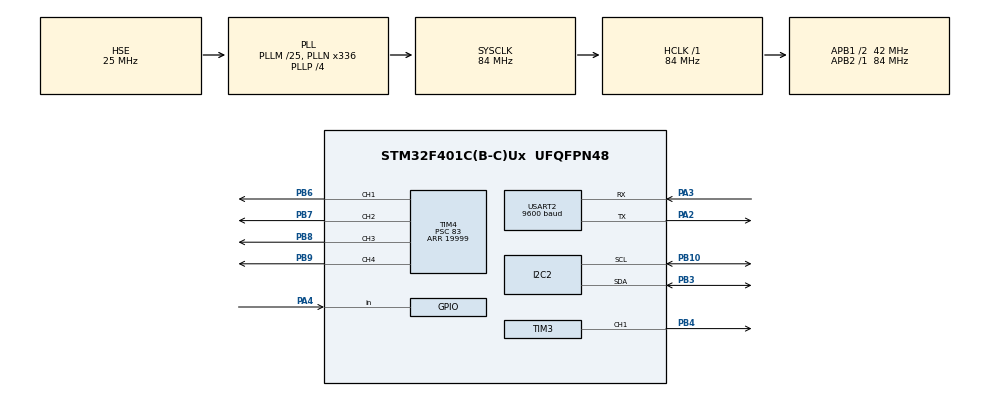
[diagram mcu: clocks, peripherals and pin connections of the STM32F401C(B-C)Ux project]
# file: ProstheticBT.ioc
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Mcu.Family=STM32F4
Mcu.Name=STM32F401C(B-C)Ux
Mcu.Package=UFQFPN48
NVIC.PriorityGroup=NVIC_PRIORITYGROUP_4
NVIC.USART2_IRQn=true\:0\:0\:false\:false\:true\:true\:true\:true
PA13.Mode=Serial_Wire
PA13.Signal=SYS_JTMS-SWDIO
PA14.Mode=Serial_Wire
PA14.Signal=SYS_JTCK-SWCLK
PA2.Mode=Asynchronous
PA2.Signal=USART2_TX
PA3.Mode=Asynchronous
PA3.Signal=USART2_RX
PA4.GPIO_PuPd=GPIO_PULLUP
PA4.Signal=GPIO_Input
PB10.Mode=I2C
PB10.Signal=I2C2_SCL
PB3.Mode=I2C
PB3.Signal=I2C2_SDA
PB4.Signal=S_TIM3_CH1
PB6.Signal=S_TIM4_CH1
PB7.Signal=S_TIM4_CH2
PB8.Signal=S_TIM4_CH3
PB9.Signal=S_TIM4_CH4
PH0\ -\ OSC_IN.Mode=HSE-External-Oscillator
PH0\ -\ OSC_IN.Signal=RCC_OSC_IN
PH1\ -\ OSC_OUT.Mode=HSE-External-Oscillator
PH1\ -\ OSC_OUT.Signal=RCC_OSC_OUT
ProjectManager.HeapSize=0x200
ProjectManager.StackSize=0x400
ProjectManager.TargetToolchain=MDK-ARM V5.32
RCC.48MHZClocksFreq_Value=84000000
RCC.AHBFreq_Value=84000000
RCC.APB1CLKDivider=RCC_HCLK_DIV2
RCC.APB1Freq_Value=42000000
RCC.APB1TimFreq_Value=84000000
RCC.APB2Freq_Value=84000000
RCC.APB2TimFreq_Value=84000000
RCC.CortexFreq_Value=84000000
RCC.HCLKFreq_Value=84000000
RCC.HSE_VALUE=25000000
RCC.HSI_VALUE=16000000
RCC.LSE_VALUE=32768
RCC.PLLM=25
RCC.PLLN=336
RCC.PLLP=RCC_PLLP_DIV4
RCC.PLLSourceVirtual=RCC_PLLSOURCE_HSE
RCC.SYSCLKFreq_VALUE=84000000
RCC.SYSCLKSource=RCC_SYSCLKSOURCE_PLLCLK
RCC.VCOOutputFreq_Value=336000000
SH.S_TIM3_CH1.0=TIM3_CH1,PWM Generation1 CH1
SH.S_TIM4_CH1.0=TIM4_CH1,PWM Generation1 CH1
SH.S_TIM4_CH2.0=TIM4_CH2,PWM Generation2 CH2
SH.S_TIM4_CH3.0=TIM4_CH3,PWM Generation3 CH3
SH.S_TIM4_CH4.0=TIM4_CH4,PWM Generation4 CH4
TIM3.Channel-PWM\ Generation1\ CH1=TIM_CHANNEL_1
TIM3.Period=19999
TIM3.Prescaler=83
TIM3.Pulse-PWM\ Generation1\ CH1=1500
TIM4.Channel-PWM\ Generation1\ CH1=TIM_CHANNEL_1
TIM4.Channel-PWM\ Generation2\ CH2=TIM_CHANNEL_2
TIM4.Channel-PWM\ Generation3\ CH3=TIM_CHANNEL_3
TIM4.Channel-PWM\ Generation4\ CH4=TIM_CHANNEL_4
TIM4.Period=19999
TIM4.Prescaler=83
TIM4.Pulse-PWM\ Generation1\ CH1=1500
TIM4.Pulse-PWM\ Generation2\ CH2=1500
TIM4.Pulse-PWM\ Generation3\ CH3=1500
TIM4.Pulse-PWM\ Generation4\ CH4=1500
USART2.BaudRate=9600
USART2.VirtualMode=VM_ASYNC
board=custom

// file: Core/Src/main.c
/* USER CODE BEGIN Header */
/**
  ******************************************************************************
  * @file           : main.c
  * @brief          : Main program body
  ******************************************************************************
  * @attention
  *
  * Copyright (c) 2026 STMicroelectronics.
  * All rights reserved.
  *
  * This software is licensed under terms that can be found in the LICENSE file
  * in the root directory of this software component.
  * If no LICENSE file comes with this software, it is provided AS-IS.
  *
  ******************************************************************************
  */
/* USER CODE END Header */

#include "main.h"
#include <stdio.h>  // snprintf() for building LCD text
#include <math.h>   // atan2f() for the tilt angle

I2C_HandleTypeDef hi2c2;
TIM_HandleTypeDef htim3;
TIM_HandleTypeDef htim4;
UART_HandleTypeDef huart2;

/* USER CODE BEGIN PV */
uint8_t rx;
volatile uint8_t  new_cmd = 0;      // set in the callback, used in the main loop
char last_cmd[12] = "READY";
uint8_t linked = 0;
int16_t ax, ay, az;
int     tilt = 0;
uint8_t mpu_ok = 0;
uint8_t who = 0;
uint32_t t_mpu = 0;
uint8_t lcd27 = 0, lcd3F = 0;

volatile uint8_t mode = 0;   // 0 = Bluetooth only, 1 = tilt
uint8_t hand_closed = 0;

/* USER CODE END PV */

void SystemClock_Config(void);
static void MX_GPIO_Init(void);
static void MX_TIM3_Init(void);
static void MX_TIM4_Init(void);
static void MX_USART2_UART_Init(void);
static void MX_I2C2_Init(void);

/* USER CODE BEGIN 0 */

#define LCD_ADDR (0x27 << 1)   // I2C address of the LCD backpack (0x27 here;

static void lcd_nibble(uint8_t n)  // Send one 4-bit nibble; used only during LCD start-up
{
  uint8_t b[2] = { (uint8_t)(n | 0x0C), (uint8_t)(n | 0x08) };   // EN high, then EN low, backlight on
  HAL_I2C_Master_Transmit(&hi2c2, LCD_ADDR, b, 2, 100);
}

static void lcd_send(uint8_t data, uint8_t rs)  // Send a full byte as two nibbles. rs=0 command, rs=1 character
{
  uint8_t hi = data & 0xF0, lo = (data << 4) & 0xF0;
  uint8_t f = 0x08 | rs;
  uint8_t b[4] = { (uint8_t)(hi | f | 0x04), (uint8_t)(hi | f),
                   (uint8_t)(lo | f | 0x04), (uint8_t)(lo | f) };
  HAL_I2C_Master_Transmit(&hi2c2, LCD_ADDR, b, 4, 100);
}

void lcd_init(void)  // Initialise the 16x2 LCD in 4-bit mode (standard HD44780 sequence)
{
  HAL_Delay(50);
  lcd_nibble(0x30); HAL_Delay(5);
  lcd_nibble(0x30); HAL_Delay(1);
  lcd_nibble(0x30); HAL_Delay(1);
  lcd_nibble(0x20); HAL_Delay(1);   // switch to 4-bit mode
  lcd_send(0x28, 0);                // 2 lines, 5x8 font
  lcd_send(0x0C, 0);                // display on, cursor off
  lcd_send(0x06, 0);                // cursor moves right
  lcd_send(0x01, 0); HAL_Delay(2);  // clear
}

void lcd_cursor(uint8_t row, uint8_t col) // Move the cursor to a row (0 or 1) and column (0 to 15)
{
  lcd_send(0x80 | ((row ? 0x40 : 0x00) + col), 0);
}

void lcd_print(const char *s) // Print a string at the current cursor position
{
  while (*s) lcd_send((uint8_t)*s++, 1);
}

#define MPU_ADDR (0x68 << 1) // MPU6050 address with AD0 on GND (0x68)

uint8_t mpu_init(void) // Check the sensor is present, then wake it (it starts in sleep mode)
{
  uint8_t d = 0;
  if (HAL_I2C_IsDeviceReady(&hi2c2, MPU_ADDR, 3, 50) != HAL_OK) return 0;
  HAL_I2C_Mem_Read(&hi2c2, MPU_ADDR, 0x75, 1, &who, 1, 100);   // WHO_AM_I, should be 0x68
  HAL_I2C_Mem_Write(&hi2c2, MPU_ADDR, 0x6B, 1, &d, 1, 100);    // wake up
  return 1;
}

void mpu_read(void)   // Read the 3-axis accelerometer and compute wrist tilt in degrees
{
  uint8_t b[6];
  if (HAL_I2C_Mem_Read(&hi2c2, MPU_ADDR, 0x3B, 1, b, 6, 100) == HAL_OK)
  {
    ax = (int16_t)((b[0] << 8) | b[1]);
    ay = (int16_t)((b[2] << 8) | b[3]);
    az = (int16_t)((b[4] << 8) | b[5]);
    tilt = (int)(atan2f((float)ay, (float)az) * 57.2958f);   // -180..180 degrees
  }
}

void lcd_update(void) // Show the Bluetooth status (line 1) and last command (line 2)
{
  char buf[17];
  lcd_cursor(0, 0);
  lcd_print(linked ? "BT:OK            " : "BT:waiting       ");
  snprintf(buf, sizeof(buf), "Last: %-10s", last_cmd);
  lcd_cursor(1, 0);
  lcd_print(buf);
}

#define OPEN_ANGLE    0       // Servo angles and pulse limits (timer ticks are 1 us)
#define CLOSE_ANGLE   180
#define SERVO_COUNT   5
#define SERVO_MIN_US  500     // pulse at 0 degrees
#define SERVO_MAX_US  2500    // pulse at 180 degrees

void setFinger(uint8_t id, uint8_t angle) // Move one finger (id 0 to 4) to an angle (0 to 180 degrees)
{
  if (angle > 180) angle = 180;
  uint32_t pulse = SERVO_MIN_US +
                   ((uint32_t)angle * (SERVO_MAX_US - SERVO_MIN_US)) / 180;
  // Fingers 0 to 3 use TIM4 (PB6 to PB9); finger 4 uses TIM3 (PB4)
	switch (id) {
    case 0: __HAL_TIM_SET_COMPARE(&htim4, TIM_CHANNEL_1, pulse); break;
    case 1: __HAL_TIM_SET_COMPARE(&htim4, TIM_CHANNEL_2, pulse); break;
    case 2: __HAL_TIM_SET_COMPARE(&htim4, TIM_CHANNEL_3, pulse); break;
    case 3: __HAL_TIM_SET_COMPARE(&htim4, TIM_CHANNEL_4, pulse); break;
    case 4: __HAL_TIM_SET_COMPARE(&htim3, TIM_CHANNEL_1, pulse); break;
  }
}

void setAll(uint8_t angle)    // Move all five fingers to the same angle
{
  for (int i = 0; i < SERVO_COUNT; i++) setFinger(i, angle);
}

/* USER CODE END 0 */

int main(void)
{

  /* MCU Configuration--------------------------------------------------------*/

  /* Reset of all peripherals, Initializes the Flash interface and the Systick. */
  HAL_Init();

  /* Configure the system clock */
  SystemClock_Config();

  /* Initialize all configured peripherals */
  MX_GPIO_Init();
  MX_TIM3_Init();
  MX_TIM4_Init();
  MX_USART2_UART_Init();
  MX_I2C2_Init();

  /* USER CODE BEGIN 2 */

	// Start PWM on all five servo channels
	HAL_TIM_PWM_Start(&htim4, TIM_CHANNEL_1);
  HAL_TIM_PWM_Start(&htim4, TIM_CHANNEL_2);
  HAL_TIM_PWM_Start(&htim4, TIM_CHANNEL_3);
  HAL_TIM_PWM_Start(&htim4, TIM_CHANNEL_4);
  HAL_TIM_PWM_Start(&htim3, TIM_CHANNEL_1);

	// Start with the hand open
  setAll(OPEN_ANGLE);

	// Start interrupt-driven reception of one Bluetooth byte
	HAL_UART_Receive_IT(&huart2, &rx, 1);

	// Debug: see which LCD address responds (watch lcd27 / lcd3F)
	lcd27 = (HAL_I2C_IsDeviceReady(&hi2c2, 0x27 << 1, 3, 50) == HAL_OK);
  lcd3F = (HAL_I2C_IsDeviceReady(&hi2c2, 0x3F << 1, 3, 50) == HAL_OK);

  // Show the start-up screen for one second, then the status screen
  lcd_init();
  lcd_cursor(0, 0); lcd_print("Bionic Hand     ");
  lcd_cursor(1, 0); lcd_print("Starting...     ");
  HAL_Delay(1000);
  lcd_update();          // shows BT:waiting / Last: READY

  // Detect the MPU6050; mpu_ok stays 0 if it is missing
  mpu_ok = mpu_init();

  /* USER CODE END 2 */

  /* Infinite loop */
  while (1)
  {

    /* USER CODE BEGIN 3 */

	 // Every 100 ms: read the sensor, apply tilt control if enabled, update the LCD
   if (mpu_ok && HAL_GetTick() - t_mpu > 100){
   t_mpu = HAL_GetTick();
   mpu_read();

   if (mode == 1)
  {
    if (tilt > 45 && !hand_closed)      { setAll(CLOSE_ANGLE); hand_closed = 1; }
    else if (tilt < 10 && hand_closed)  { setAll(OPEN_ANGLE);  hand_closed = 0; }
  }

  char m[17];
  snprintf(m, sizeof(m), "%s%4d %s      ", mode ? "T:" : "M:", tilt, hand_closed ? "CLOSE" : "OPEN");
  lcd_cursor(1, 0);
  lcd_print(m);
  }
 }
  /* USER CODE END 3 */
}

void SystemClock_Config(void)
{
  RCC_OscInitTypeDef RCC_OscInitStruct = {0};
  RCC_ClkInitTypeDef RCC_ClkInitStruct = {0};

  /** Configure the main internal regulator output voltage
  */
  __HAL_RCC_PWR_CLK_ENABLE();
  __HAL_PWR_VOLTAGESCALING_CONFIG(PWR_REGULATOR_VOLTAGE_SCALE2);

  /** Initializes the RCC Oscillators according to the specified parameters
  * in the RCC_OscInitTypeDef structure.
  */
  RCC_OscInitStruct.OscillatorType = RCC_OSCILLATORTYPE_HSE;
  RCC_OscInitStruct.HSEState = RCC_HSE_ON;
  RCC_OscInitStruct.PLL.PLLState = RCC_PLL_ON;
  RCC_OscInitStruct.PLL.PLLSource = RCC_PLLSOURCE_HSE;
  RCC_OscInitStruct.PLL.PLLM = 25;
  RCC_OscInitStruct.PLL.PLLN = 336;
  RCC_OscInitStruct.PLL.PLLP = RCC_PLLP_DIV4;
  RCC_OscInitStruct.PLL.PLLQ = 4;
  if (HAL_RCC_OscConfig(&RCC_OscInitStruct) != HAL_OK)
  {
    Error_Handler();
  }

  /** Initializes the CPU, AHB and APB buses clocks
  */
  RCC_ClkInitStruct.ClockType = RCC_CLOCKTYPE_HCLK|RCC_CLOCKTYPE_SYSCLK
                              |RCC_CLOCKTYPE_PCLK1|RCC_CLOCKTYPE_PCLK2;
  RCC_ClkInitStruct.SYSCLKSource = RCC_SYSCLKSOURCE_PLLCLK;
  RCC_ClkInitStruct.AHBCLKDivider = RCC_SYSCLK_DIV1;
  RCC_ClkInitStruct.APB1CLKDivider = RCC_HCLK_DIV2;
  RCC_ClkInitStruct.APB2CLKDivider = RCC_HCLK_DIV1;

  if (HAL_RCC_ClockConfig(&RCC_ClkInitStruct, FLASH_LATENCY_2) != HAL_OK)
  {
    Error_Handler();
  }
}

static void MX_I2C2_Init(void)
{

  hi2c2.Instance = I2C2;
  hi2c2.Init.ClockSpeed = 100000;
  hi2c2.Init.DutyCycle = I2C_DUTYCYCLE_2;
  hi2c2.Init.OwnAddress1 = 0;
  hi2c2.Init.AddressingMode = I2C_ADDRESSINGMODE_7BIT;
  hi2c2.Init.DualAddressMode = I2C_DUALADDRESS_DISABLE;
  hi2c2.Init.OwnAddress2 = 0;
  hi2c2.Init.GeneralCallMode = I2C_GENERALCALL_DISABLE;
  hi2c2.Init.NoStretchMode = I2C_NOSTRETCH_DISABLE;
  if (HAL_I2C_Init(&hi2c2) != HAL_OK)
  {
    Error_Handler();
  }

}

static void MX_TIM3_Init(void)
{

  TIM_MasterConfigTypeDef sMasterConfig = {0};
  TIM_OC_InitTypeDef sConfigOC = {0};

  htim3.Instance = TIM3;
  htim3.Init.Prescaler = 83;
  htim3.Init.CounterMode = TIM_COUNTERMODE_UP;
  htim3.Init.Period = 19999;
  htim3.Init.ClockDivision = TIM_CLOCKDIVISION_DIV1;
  htim3.Init.AutoReloadPreload = TIM_AUTORELOAD_PRELOAD_DISABLE;
  if (HAL_TIM_PWM_Init(&htim3) != HAL_OK)
  {
    Error_Handler();
  }
  sMasterConfig.MasterOutputTrigger = TIM_TRGO_RESET;
  sMasterConfig.MasterSlaveMode = TIM_MASTERSLAVEMODE_DISABLE;
  if (HAL_TIMEx_MasterConfigSynchronization(&htim3, &sMasterConfig) != HAL_OK)
  {
    Error_Handler();
  }
  sConfigOC.OCMode = TIM_OCMODE_PWM1;
  sConfigOC.Pulse = 1500;
  sConfigOC.OCPolarity = TIM_OCPOLARITY_HIGH;
  sConfigOC.OCFastMode = TIM_OCFAST_DISABLE;
  if (HAL_TIM_PWM_ConfigChannel(&htim3, &sConfigOC, TIM_CHANNEL_1) != HAL_OK)
  {
    Error_Handler();
  }
  HAL_TIM_MspPostInit(&htim3);

}

static void MX_TIM4_Init(void)
{

  TIM_MasterConfigTypeDef sMasterConfig = {0};
  TIM_OC_InitTypeDef sConfigOC = {0};

  htim4.Instance = TIM4;
  htim4.Init.Prescaler = 83;
  htim4.Init.CounterMode = TIM_COUNTERMODE_UP;
  htim4.Init.Period = 19999;
  htim4.Init.ClockDivision = TIM_CLOCKDIVISION_DIV1;
  htim4.Init.AutoReloadPreload = TIM_AUTORELOAD_PRELOAD_DISABLE;
  if (HAL_TIM_PWM_Init(&htim4) != HAL_OK)
  {
    Error_Handler();
  }
  sMasterConfig.MasterOutputTrigger = TIM_TRGO_RESET;
  sMasterConfig.MasterSlaveMode = TIM_MASTERSLAVEMODE_DISABLE;
  if (HAL_TIMEx_MasterConfigSynchronization(&htim4, &sMasterConfig) != HAL_OK)
  {
    Error_Handler();
  }
  sConfigOC.OCMode = TIM_OCMODE_PWM1;
  sConfigOC.Pulse = 1500;
  sConfigOC.OCPolarity = TIM_OCPOLARITY_HIGH;
  sConfigOC.OCFastMode = TIM_OCFAST_DISABLE;
  if (HAL_TIM_PWM_ConfigChannel(&htim4, &sConfigOC, TIM_CHANNEL_1) != HAL_OK)
  {
    Error_Handler();
  }
  if (HAL_TIM_PWM_ConfigChannel(&htim4, &sConfigOC, TIM_CHANNEL_2) != HAL_OK)
  {
    Error_Handler();
  }
  if (HAL_TIM_PWM_ConfigChannel(&htim4, &sConfigOC, TIM_CHANNEL_3) != HAL_OK)
  {
    Error_Handler();
  }
  if (HAL_TIM_PWM_ConfigChannel(&htim4, &sConfigOC, TIM_CHANNEL_4) != HAL_OK)
  {
    Error_Handler();
  }
  HAL_TIM_MspPostInit(&htim4);

}

static void MX_USART2_UART_Init(void)
{

  huart2.Instance = USART2;
  huart2.Init.BaudRate = 9600;
  huart2.Init.WordLength = UART_WORDLENGTH_8B;
  huart2.Init.StopBits = UART_STOPBITS_1;
  huart2.Init.Parity = UART_PARITY_NONE;
  huart2.Init.Mode = UART_MODE_TX_RX;
  huart2.Init.HwFlowCtl = UART_HWCONTROL_NONE;
  huart2.Init.OverSampling = UART_OVERSAMPLING_16;
  if (HAL_UART_Init(&huart2) != HAL_OK)
  {
    Error_Handler();
  }

}

static void MX_GPIO_Init(void)
{
  GPIO_InitTypeDef GPIO_InitStruct = {0};

  /* GPIO Ports Clock Enable */
  __HAL_RCC_GPIOH_CLK_ENABLE();
  __HAL_RCC_GPIOA_CLK_ENABLE();
  __HAL_RCC_GPIOB_CLK_ENABLE();

  /*Configure GPIO pin : PA4 */
  GPIO_InitStruct.Pin = GPIO_PIN_4;
  GPIO_InitStruct.Mode = GPIO_MODE_INPUT;
  GPIO_InitStruct.Pull = GPIO_PULLUP;
  HAL_GPIO_Init(GPIOA, &GPIO_InitStruct);

}

/* USER CODE BEGIN 4 */

void HAL_UART_RxCpltCallback(UART_HandleTypeDef *huart)
{
  if (huart->Instance == USART2)
  {
		linked = 1;
    new_cmd = 1;
    if      (rx == 'C') snprintf(last_cmd, sizeof(last_cmd), "CLOSE");
    else if (rx == 'O') snprintf(last_cmd, sizeof(last_cmd), "OPEN");
    else if (rx >= '1' && rx <= '5') snprintf(last_cmd, sizeof(last_cmd), "FINGER %c", rx);
    else                snprintf(last_cmd, sizeof(last_cmd), "%c ?", rx);

    if (rx == 'C') setAll(CLOSE_ANGLE);
    if (rx == 'O') setAll(OPEN_ANGLE);

    if (rx == '1') setFinger(0, CLOSE_ANGLE);
    if (rx == '2') setFinger(1, CLOSE_ANGLE);
    if (rx == '3') setFinger(2, CLOSE_ANGLE);
    if (rx == '4') setFinger(3, CLOSE_ANGLE);
    if (rx == '5') setFinger(4, CLOSE_ANGLE);

		if (rx == 'T') { mode = 1; snprintf(last_cmd, sizeof(last_cmd), "TILT MODE"); }
    if (rx == 'M') { mode = 0; snprintf(last_cmd, sizeof(last_cmd), "MANUAL"); }

		// Echo the byte back so the phone app can confirm it.
    HAL_UART_Transmit(&huart2, &rx, 1, 10);   // echo
    HAL_UART_Receive_IT(&huart2, &rx, 1);
  }
}

/* USER CODE END 4 */

void Error_Handler(void)
{
  __disable_irq();
  while (1)
  {
  }
}
